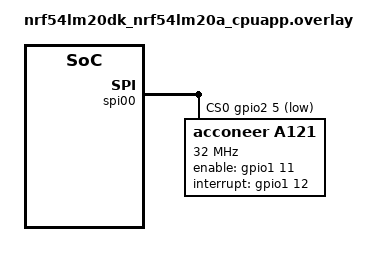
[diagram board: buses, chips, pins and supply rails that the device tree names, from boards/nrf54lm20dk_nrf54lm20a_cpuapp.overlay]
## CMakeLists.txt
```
#
# Copyright (c) 2026 Nordic Semiconductor ASA
#
# SPDX-License-Identifier: LicenseRef-Nordic-5-Clause
#

cmake_minimum_required(VERSION 3.20.0)

find_package(Zephyr REQUIRED HINTS $ENV{ZEPHYR_BASE})
project(radar_senior_care)

target_sources(app PRIVATE
  src/main.c
  src/care_json.c
  src/net_mqtt.c
)

# Phase 0 / SDK-absent build: simulated radar data so the Wi-Fi -> MQTT ->
# dashboard pipeline can be exercised without the sensor or the Acconeer SDK.
if(CONFIG_RADAR_CARE_SENSOR_SYNTHETIC)
  target_sources(app PRIVATE src/sensing_synthetic.c)
endif()

# Sensor build: links the proprietary Acconeer A121 RSS libraries and compiles
# the breathing reference app + our Zephyr HAL port. The SDK is an EXTERNAL,
# separately licensed dependency and is NOT committed to this repository.
if(CONFIG_RADAR_CARE_SENSOR_A121)
  # SDK location resolution order:
  #   1. ACCONEER_A121_SDK_DIR environment variable (recommended: propagates to
  #      every sysbuild image automatically), then
  #   2. an explicit -DACCONEER_A121_SDK_DIR=... cache override, then
  #      (for sysbuild use the image-namespaced form noted in the README), then
  #   3. the default ~/cortex_m33_gcc.
  if(DEFINED ENV{ACCONEER_A121_SDK_DIR})
    set(ACCONEER_A121_SDK_DIR "$ENV{ACCONEER_A121_SDK_DIR}"
        CACHE PATH "Path to the Acconeer A121 Cortex-M33 SDK" FORCE)
  else()
    set(ACCONEER_A121_SDK_DIR "$ENV{HOME}/cortex_m33_gcc"
        CACHE PATH "Path to the Acconeer A121 Cortex-M33 SDK")
  endif()

  if(NOT EXISTS "${ACCONEER_A121_SDK_DIR}/rss/lib/libacconeer_a121.a")
    message(FATAL_ERROR
      "Acconeer A121 SDK not found at '${ACCONEER_A121_SDK_DIR}'.\n"
      "Set it with: export ACCONEER_A121_SDK_DIR=/path/to/cortex_m33_gcc")
  endif()

  target_include_directories(app PRIVATE
    ${ACCONEER_A121_SDK_DIR}/rss/include
    ${ACCONEER_A121_SDK_DIR}/integration
    ${ACCONEER_A121_SDK_DIR}/algorithms
    ${ACCONEER_A121_SDK_DIR}/use_cases/reference_apps
  )

  target_sources(app PRIVATE
    src/sensing_a121.c
    src/acconeer_hal/acc_hal_zephyr.c
    src/acconeer_hal/acc_integration_zephyr.c
    src/acconeer_hal/acc_integration_log_zephyr.c
    ${ACCONEER_A121_SDK_DIR}/algorithms/acc_algorithm.c
    ${ACCONEER_A121_SDK_DIR}/use_cases/reference_apps/ref_app_breathing.c
  )

  # Order matters: detectors depend on the core RSS library.
  target_link_libraries(app PRIVATE
    ${ACCONEER_A121_SDK_DIR}/rss/lib/libacc_detector_presence_a121.a
    ${ACCONEER_A121_SDK_DIR}/rss/lib/libacc_detector_distance_a121.a
    ${ACCONEER_A121_SDK_DIR}/rss/lib/libacconeer_a121.a
  )
endif()

include(${ZEPHYR_BASE}/samples/net/common/common.cmake)
```

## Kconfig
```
#
# Copyright (c) 2026 Nordic Semiconductor ASA
#
# SPDX-License-Identifier: LicenseRef-Nordic-5-Clause
#

source "Kconfig.zephyr"

menu "Senior-care radar monitor"

config RADAR_CARE_SITE_ID
	string "Site identifier"
	default "site1"
	help
	  Logical site/facility identifier used in the MQTT topic tree
	  (care/<site>/<room>/...).

config RADAR_CARE_ROOM_ID
	string "Room identifier"
	default ""
	help
	  Room/device identifier used in the MQTT topic tree and as the MQTT
	  client id. If left empty, an id is derived from the Wi-Fi MAC
	  (for example "room_AEDA").

choice RADAR_CARE_SENSOR_BACKEND
	prompt "Radar sensor backend"
	default RADAR_CARE_SENSOR_SYNTHETIC
	help
	  Selects whether the application drives a real Acconeer A121 sensor or
	  emits simulated data. Synthetic mode lets the full Wi-Fi/MQTT/dashboard
	  pipeline be built and tested without hardware or the Acconeer SDK.

config RADAR_CARE_SENSOR_SYNTHETIC
	bool "Synthetic (simulated) radar data"

config RADAR_CARE_SENSOR_A121
	bool "Acconeer A121 radar (requires external SDK)"
	help
	  Drives a real A121 over SPI using the Acconeer RSS libraries and the
	  Zephyr HAL port. Requires the external SDK (see CMakeLists.txt and
	  DESIGN.md, Appendix A).

endchoice

menu "MQTT broker"

config RADAR_CARE_BROKER_HOSTNAME
	string "MQTT broker hostname or IP address"
	default "192.168.x.x"

config RADAR_CARE_BROKER_PORT
	int "MQTT broker TCP port"
	default 1883
	range 1 65535
	help
	  Plain MQTT is 1883; MQTT over TLS is typically 8883. Set this to 8883
	  when RADAR_CARE_MQTT_TLS is enabled.

config RADAR_CARE_MQTT_TLS
	bool "Connect to the broker over TLS"
	select MQTT_LIB_TLS
	select NET_SOCKETS_SOCKOPT_TLS
	select TLS_CREDENTIALS
	help
	  Use a TLS-secured MQTT connection. Enable this together with the crypto
	  backend settings in overlay-tls.conf (mbed TLS / nRF Security), and put
	  the broker's CA certificate in src/certs/ca_cert.h (see the README).
	  Remember to set RADAR_CARE_BROKER_PORT to the TLS port (usually 8883).

if RADAR_CARE_MQTT_TLS

config RADAR_CARE_MQTT_TLS_SEC_TAG
	int "TLS security tag for the broker CA certificate"
	default 201
	help
	  Arbitrary, application-chosen identifier under which the CA certificate
	  is registered in the TLS credential store.

config RADAR_CARE_MQTT_TLS_HOSTNAME
	string "Expected TLS hostname (SNI / certificate name check)"
	default ""
	help
	  Hostname checked against the broker certificate's CN/SAN and sent as
	  SNI. Leave empty to reuse RADAR_CARE_BROKER_HOSTNAME. Must match a name
	  in the server certificate, otherwise peer verification fails.

config RADAR_CARE_MQTT_TLS_PEER_VERIFY
	int "TLS peer verification level"
	default 2
	range 0 2
	help
	  0 = none, 1 = optional, 2 = required. Use 2 in production.

endif # RADAR_CARE_MQTT_TLS

config RADAR_CARE_MQTT_USERNAME
	string "MQTT username (empty to disable auth)"
	default ""
	help
	  Username sent in the MQTT CONNECT for broker authentication. Leave
	  empty for anonymous brokers.

config RADAR_CARE_MQTT_PASSWORD
	string "MQTT password"
	default ""
	help
	  Password paired with RADAR_CARE_MQTT_USERNAME. Prefer provisioning this
	  out of band rather than committing it to prj.conf.

endmenu

menu "Telemetry"

config RADAR_CARE_PRESENCE_PERIOD_MS
	int "Presence publish period (ms)"
	default 1000
	range 100 60000

config RADAR_CARE_BREATHING_PERIOD_MS
	int "Breathing publish period (ms)"
	default 2000
	range 200 60000

config RADAR_CARE_STATUS_PERIOD_S
	int "Status/heartbeat publish period (s)"
	default 15
	range 1 3600

config RADAR_CARE_WAVEFORM_STREAM
	bool "Stream a downsampled breathing waveform"
	default y

endmenu

menu "Fall detection"

config RADAR_CARE_FALL_ENABLE
	bool "Enable fall detection"
	default y

config RADAR_CARE_FALL_SETTLE_MS
	int "Post-impact stillness window before confirming a fall (ms)"
	depends on RADAR_CARE_FALL_ENABLE
	default 4000
	range 500 30000

endmenu

endmenu
```

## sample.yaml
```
sample:
  description: Acconeer A121 senior-care radar monitor (presence, breathing,
    fall detection) streaming over Wi-Fi/MQTT to a dashboard
  name: radar-senior-care
tests:
  sample.wifi.radar_senior_care:
    sysbuild: true
    build_only: true
    extra_args:
      - radar_senior_care_SHIELD=nrf7002eb2
    integration_platforms:
      - nrf54lm20dk/nrf54lm20a/cpuapp
    platform_allow: nrf54lm20dk/nrf54lm20a/cpuapp
    tags:
      - ci_build
      - sysbuild
      - ci_samples_wifi
```

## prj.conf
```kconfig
#
# Copyright (c) 2026 Nordic Semiconductor ASA
#
# SPDX-License-Identifier: LicenseRef-Nordic-5-Clause
#

CONFIG_LOG=y
CONFIG_ASSERT=y
CONFIG_HW_ID_LIBRARY=y
CONFIG_HW_ID_LIBRARY_SOURCE_NET_MAC=y

# Networking
CONFIG_NETWORKING=y
CONFIG_NET_NATIVE=y
CONFIG_NET_IPV4=y
CONFIG_NET_IPV6=y
CONFIG_NET_IPV6_ND=y
CONFIG_NET_SOCKETS=y
CONFIG_NET_TCP=y
CONFIG_NET_UDP=y
CONFIG_NET_DHCPV4=y
CONFIG_POSIX_API=y
CONFIG_DNS_RESOLVER=y

# MQTT
CONFIG_MQTT_LIB=y

# Sample broker (override in your own conf / EXTRA_CONF_FILE)
CONFIG_RADAR_CARE_BROKER_HOSTNAME="192.168.x.x"
CONFIG_RADAR_CARE_BROKER_PORT=1883

CONFIG_ENTROPY_GENERATOR=y

# Wi-Fi (nRF70 companion via nrf7002eb2 shield)
CONFIG_WIFI=y
CONFIG_WIFI_NRF70=y
CONFIG_WIFI_NRF70_LOG_LEVEL_ERR=y
CONFIG_WIFI_READY_LIB=y
CONFIG_NRF_WIFI_RPU_RECOVERY=y
CONFIG_WIFI_NM_WPA_SUPPLICANT=y
CONFIG_WIFI_NM_WPA_SUPPLICANT_LOG_LEVEL_ERR=y

CONFIG_WIFI_CREDENTIALS=y
CONFIG_WIFI_CREDENTIALS_STATIC=y
CONFIG_WIFI_CREDENTIALS_STATIC_SSID="<your_ssid>"
CONFIG_WIFI_CREDENTIALS_STATIC_PASSWORD="<your_password>"

# Connection Manager
CONFIG_NET_CONNECTION_MANAGER=y
CONFIG_L2_WIFI_CONNECTIVITY=y
CONFIG_L2_WIFI_CONNECTIVITY_AUTO_CONNECT=n
CONFIG_L2_WIFI_CONNECTIVITY_AUTO_DOWN=n
CONFIG_NET_L2_ETHERNET=y
CONFIG_NET_L2_ETHERNET_MGMT=y

# Shell (diagnostics, calibration, threshold tuning)
CONFIG_SHELL=y
CONFIG_SHELL_STACK_SIZE=6144
CONFIG_NET_SHELL=y
CONFIG_NET_L2_WIFI_SHELL=y

# Stacks / heap
CONFIG_MAIN_STACK_SIZE=8192
CONFIG_SYSTEM_WORKQUEUE_STACK_SIZE=4096
CONFIG_HEAP_MEM_POOL_SIZE=40144
CONFIG_HEAP_MEM_POOL_IGNORE_MIN=y
CONFIG_NRF_WIFI_CTRL_HEAP_SIZE=20000
CONFIG_NRF_WIFI_DATA_HEAP_SIZE=54856
CONFIG_HW_STACK_PROTECTION=y

# Buffers
CONFIG_NRF70_RX_NUM_BUFS=16
CONFIG_NRF70_MAX_TX_AGGREGATION=4
CONFIG_NET_PKT_RX_COUNT=16
CONFIG_NET_PKT_TX_COUNT=16
CONFIG_NET_BUF_RX_COUNT=16
CONFIG_NET_BUF_TX_COUNT=32

CONFIG_NET_MGMT_EVENT_QUEUE_TIMEOUT=5000

# Float (breathing/presence detectors are float; needed for JSON formatting too)
CONFIG_FPU=y
CONFIG_CBPRINTF_FP_SUPPORT=y

CONFIG_LTO=y
CONFIG_ISR_TABLES_LOCAL_DECLARATION=y
```

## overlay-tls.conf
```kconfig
#
# Copyright (c) 2026 Nordic Semiconductor ASA
#
# SPDX-License-Identifier: LicenseRef-Nordic-5-Clause
#
# MQTT-over-TLS (+ optional broker auth) overlay for nRF54L + nRF70.
#
# Usage:
#   1. Put your broker CA certificate (PEM) in src/certs/ca_cert.h
#      (server/broker/gen_certs.sh generates one for the bundled demo broker).
#   2. Build:
#        west build -p -b nrf54lm20dk/nrf54lm20a/cpuapp --sysbuild \
#          samples/wifi/radar_senior_care -- \
#          -Dradar_senior_care_SHIELD="nrf7002eb2" \
#          -DEXTRA_CONF_FILE="overlay-tls.conf"
#
# The crypto settings mirror samples/net/mqtt/tls-nrf54l-nrf70.conf.

# --- Application TLS/auth options ---
CONFIG_RADAR_CARE_MQTT_TLS=y
CONFIG_RADAR_CARE_BROKER_PORT=8883
CONFIG_RADAR_CARE_MQTT_TLS_PEER_VERIFY=2
# Must match a CN/SAN in the broker certificate:
CONFIG_RADAR_CARE_MQTT_TLS_HOSTNAME="care-broker"
# Optional broker auth (must match the broker password file):
CONFIG_RADAR_CARE_MQTT_USERNAME="room-device"
CONFIG_RADAR_CARE_MQTT_PASSWORD="change-me"

# --- TLS credential store (CA registered at runtime from src/certs/ca_cert.h) ---
CONFIG_TLS_CREDENTIALS_BACKEND_VOLATILE=y
CONFIG_NET_SOCKETS_TLS_MAX_CONTEXTS=1

# --- nRF Security / mbed TLS ---
CONFIG_PSA_CRYPTO=y
CONFIG_MBEDTLS=y
CONFIG_MBEDTLS_ENABLE_HEAP=y
CONFIG_MBEDTLS_HEAP_SIZE=48000
CONFIG_MBEDTLS_SSL_KEEP_PEER_CERTIFICATE=n
CONFIG_MBEDTLS_SSL_SERVER_NAME_INDICATION=y
CONFIG_MBEDTLS_DECLARE_PRIVATE_IDENTIFIERS=y
CONFIG_MBEDTLS_MD_C=y
CONFIG_MBEDTLS_HMAC_DRBG_C=y
CONFIG_MBEDTLS_SHA256_C=y
CONFIG_MBEDTLS_ECP_C=y
CONFIG_MBEDTLS_CTR_DRBG_C=y
CONFIG_MBEDTLS_AES_C=y
CONFIG_MBEDTLS_ENTROPY_C=y
CONFIG_MBEDTLS_RSA_C=y
# MPI size limit to handle ~4 kB RSA certificates.
CONFIG_MBEDTLS_MPI_MAX_SIZE=512
CONFIG_PSA_WANT_KEY_TYPE_RSA_KEY_PAIR_IMPORT=y
CONFIG_PSA_WANT_KEY_TYPE_RSA_KEY_PAIR_EXPORT=y
CONFIG_PSA_WANT_KEY_TYPE_RSA_KEY_PAIR_GENERATE=y
# ECDHE key exchange used during the TLS handshake.
CONFIG_PSA_WANT_ALG_ECDH=y
CONFIG_PSA_WANT_ALG_ECDSA=y
CONFIG_PSA_WANT_ECC_SECP_R1_256=y
CONFIG_PSA_WANT_ECC_SECP_R1_384=y
```

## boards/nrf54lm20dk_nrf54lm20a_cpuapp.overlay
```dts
/*
 * Copyright (c) 2026 Nordic Semiconductor ASA
 *
 * SPDX-License-Identifier: LicenseRef-Nordic-5-Clause
 *
 * Acconeer A121 wiring for the nRF54LM20 DK.
 *
 * The nRF7002 EB-II Wi-Fi shield already consumes nordic_expansion_spi (spi22)
 * and the expansion header, so the A121 is placed on the high-speed spi00
 * instance (its on-board flash is disabled by default, freeing the bus).
 *
 * NOTE: these are DEFAULT pin assignments (decision D2). Verify SCLK/MOSI/MISO
 * (via spi00 pinctrl), CS, ENABLE and INTERRUPT against the actual DK header
 * pinout and the A121 EVK adapter before bring-up. The pinctrl groups
 * spi00_default/spi00_sleep come from the board definition.
 */

&spi00 {
	status = "okay";
	/* A121 chip-select (reuses the spi00 CS pin from the board definition). */
	cs-gpios = <&gpio2 5 GPIO_ACTIVE_LOW>;

	a121: a121@0 {
		compatible = "acconeer,a121";
		reg = <0>;
		/* A121 supports up to ~50 MHz; start conservatively. */
		spi-max-frequency = <32000000>;

		enable-gpios = <&gpio1 11 GPIO_ACTIVE_HIGH>;
		interrupt-gpios = <&gpio1 12 (GPIO_ACTIVE_HIGH | GPIO_PULL_DOWN)>;
	};
};
```

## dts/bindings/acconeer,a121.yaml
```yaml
# Copyright (c) 2026 Nordic Semiconductor ASA
# SPDX-License-Identifier: LicenseRef-Nordic-5-Clause

description: |
  Acconeer A121 60 GHz pulsed-coherent radar sensor.

  The sensor is driven by the Acconeer RSS library through the application's
  Zephyr HAL port, which obtains the SPI bus and the ENABLE / INTERRUPT GPIOs
  from this node. There is no in-tree Zephyr driver; this binding only describes
  the connection so the HAL can use the devicetree macros.

compatible: "acconeer,a121"

include: spi-device.yaml

properties:
  enable-gpios:
    type: phandle-array
    required: true
    description: |
      Sensor ENABLE line (active high). Driven high to power up the sensor,
      low to disable it.

  interrupt-gpios:
    type: phandle-array
    required: true
    description: |
      Sensor INTERRUPT/READY line (active high). The HAL waits on a rising
      edge of this signal to know a measurement is ready.
```

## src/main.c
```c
/*
 * Copyright (c) 2026 Nordic Semiconductor ASA
 *
 * SPDX-License-Identifier: LicenseRef-Nordic-5-Clause
 *
 * Senior-care radar monitor: brings up Wi-Fi, starts the sensing backend
 * (synthetic or A121), and streams presence/breathing/fall telemetry to the
 * care dashboard over MQTT.
 */

#include <string.h>

#include <zephyr/kernel.h>
#include <zephyr/logging/log.h>
#include <zephyr/net/conn_mgr_connectivity.h>
#include <zephyr/net/conn_mgr_monitor.h>
#include <zephyr/net/net_event.h>
#include <zephyr/net/net_mgmt.h>

#include <hw_id.h>

#include "net_sample_common.h"

#include "care.h"
#include "net_mqtt.h"
#include "sensing.h"

LOG_MODULE_REGISTER(radar_care, CONFIG_LOG_DEFAULT_LEVEL);

#define L4_FAMILY_EVENT_MASK                                                    \
	(NET_EVENT_L4_IPV4_CONNECTED | NET_EVENT_L4_IPV4_DISCONNECTED |         \
	 NET_EVENT_L4_IPV6_CONNECTED | NET_EVENT_L4_IPV6_DISCONNECTED)

static struct net_mgmt_event_callback l4_family_cb;
static atomic_t ipv4_connected;
static atomic_t ipv6_connected;
static K_SEM_DEFINE(l4_family_changed, 0, 1);

static char room_id[24];

static void l4_family_event_handler(struct net_mgmt_event_callback *cb, uint64_t event,
				    struct net_if *iface)
{
	ARG_UNUSED(cb);
	ARG_UNUSED(iface);

	switch (event) {
	case NET_EVENT_L4_IPV4_CONNECTED:
		atomic_set(&ipv4_connected, 1);
		break;
	case NET_EVENT_L4_IPV4_DISCONNECTED:
		atomic_set(&ipv4_connected, 0);
		break;
	case NET_EVENT_L4_IPV6_CONNECTED:
		atomic_set(&ipv6_connected, 1);
		break;
	case NET_EVENT_L4_IPV6_DISCONNECTED:
		atomic_set(&ipv6_connected, 0);
		break;
	default:
		return;
	}

	k_sem_give(&l4_family_changed);
}

/* Avoid the dual-stack race where L4_CONNECTED fires on IPv6 before IPv4 DHCP
 * binds (see samples/wifi/arp_mqtt). Default broker is IPv4 here.
 */
static void wait_for_ipv4(void)
{
	int64_t deadline = k_uptime_get() + 30000;

	while (atomic_get(&ipv4_connected) == 0) {
		if (k_uptime_get() >= deadline) {
			LOG_WRN("No IPv4 connectivity yet; proceeding anyway");
			return;
		}
		(void)k_sem_take(&l4_family_changed, K_MSEC(500));
	}
}

static void derive_room_id(void)
{
	if (strlen(CONFIG_RADAR_CARE_ROOM_ID) > 0) {
		(void)strncpy(room_id, CONFIG_RADAR_CARE_ROOM_ID, sizeof(room_id) - 1);
		room_id[sizeof(room_id) - 1] = '\0';
		return;
	}

	char hw[HW_ID_LEN];

	if (hw_id_get(hw, sizeof(hw)) == 0 && strlen(hw) >= 12) {
		(void)snprintk(room_id, sizeof(room_id), "room_%s", &hw[8]);
	} else {
		(void)strncpy(room_id, "room_0000", sizeof(room_id));
	}
}

/* Maps a sensing event onto the MQTT topic tree. Runs in sensing context. */
static void on_care_event(const struct care_event *evt)
{
	char payload[256];

	if (care_event_to_json(evt, payload, sizeof(payload)) < 0) {
		LOG_WRN("event serialization failed (type %d)", evt->type);
		return;
	}

	switch (evt->type) {
	case CARE_EVT_PRESENCE:
		(void)care_mqtt_publish("presence", payload, false, 0);
		break;
	case CARE_EVT_BREATHING:
		(void)care_mqtt_publish("breathing", payload, false, 0);
		break;
	case CARE_EVT_WAVEFORM:
		(void)care_mqtt_publish("breathing/wave", payload, false, 0);
		break;
	case CARE_EVT_FALL:
		/* Reliable delivery for alerts. */
		(void)care_mqtt_publish("fall", payload, false, 1);
		break;
	default:
		break;
	}
}

/* Handles commands from the dashboard on care/<site>/<room>/cmd. Runs in the
 * MQTT processing context. Currently supports {"ack_fall": true}.
 */
static void on_command(const char *payload, size_t len)
{
	ARG_UNUSED(len);

	if (strstr(payload, "ack_fall") != NULL && strstr(payload, "true") != NULL) {
		LOG_INF("Fall acknowledged by dashboard");
		sensing_ack_fall();
	}
}

int main(void)
{
	int err;
	int64_t last_status = 0;

	LOG_INF("Senior-care radar monitor starting");

	derive_room_id();
	LOG_INF("Room id: %s", room_id);
	care_mqtt_init(room_id);
	care_mqtt_set_cmd_handler(on_command);

	net_mgmt_init_event_callback(&l4_family_cb, l4_family_event_handler,
				     L4_FAMILY_EVENT_MASK);
	net_mgmt_add_event_callback(&l4_family_cb);

	err = conn_mgr_all_if_up(true);
	if (err) {
		LOG_ERR("conn_mgr_all_if_up: %d", err);
		return err;
	}

	err = conn_mgr_all_if_connect(true);
	if (err) {
		LOG_ERR("conn_mgr_all_if_connect: %d", err);
		return err;
	}

	wait_for_network();
	wait_for_ipv4();

	err = sensing_start(on_care_event);
	if (err) {
		LOG_ERR("sensing_start: %d", err);
		return err;
	}

	for (;;) {
		if (care_mqtt_connect() != 0) {
			LOG_WRN("Broker connect failed; retry in 5 s");
			k_sleep(K_SECONDS(5));
			continue;
		}

		last_status = k_uptime_get();

		while (care_mqtt_is_connected()) {
			if (care_mqtt_process(1000) < 0) {
				break;
			}

			int64_t now = k_uptime_get();

			if (now - last_status >=
			    CONFIG_RADAR_CARE_STATUS_PERIOD_S * 1000) {
				(void)care_mqtt_publish("status",
							"{\"online\":true}", true, 1);
				last_status = now;
			}
		}

		care_mqtt_disconnect();
		k_sleep(K_SECONDS(3));
	}
}
```

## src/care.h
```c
/*
 * Copyright (c) 2026 Nordic Semiconductor ASA
 *
 * SPDX-License-Identifier: LicenseRef-Nordic-5-Clause
 */

#ifndef RADAR_CARE_CARE_H_
#define RADAR_CARE_CARE_H_

#include <stdbool.h>
#include <stddef.h>
#include <stdint.h>

/** Maximum number of breathing-waveform samples carried in one event. */
#define CARE_WAVE_MAX_SAMPLES 16

/** Fall detection state. */
enum care_fall_state {
	CARE_FALL_NONE = 0,
	CARE_FALL_SUSPECTED,
	CARE_FALL_CONFIRMED,
};

/** Type discriminator for a care event produced by the sensing backend. */
enum care_event_type {
	CARE_EVT_PRESENCE = 0,
	CARE_EVT_BREATHING,
	CARE_EVT_WAVEFORM,
	CARE_EVT_FALL,
};

struct care_presence {
	bool present;
	float score;
	float distance_m;
};

struct care_breathing {
	bool valid;
	float rate_bpm;
	float confidence;
};

struct care_waveform {
	uint8_t count;
	uint16_t fs_hz;
	float samples[CARE_WAVE_MAX_SAMPLES];
};

struct care_fall {
	enum care_fall_state state;
	float confidence;
	float distance_m;
};

/** A single event emitted by the sensing backend toward telemetry. */
struct care_event {
	enum care_event_type type;
	uint32_t uptime_ms;
	union {
		struct care_presence presence;
		struct care_breathing breathing;
		struct care_waveform waveform;
		struct care_fall fall;
	};
};

/**
 * @brief Serialize a care event into a JSON payload.
 *
 * @return Number of bytes written (excluding NUL), or negative on error.
 */
int care_event_to_json(const struct care_event *evt, char *buf, size_t buf_size);

#endif /* RADAR_CARE_CARE_H_ */
```

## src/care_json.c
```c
/*
 * Copyright (c) 2026 Nordic Semiconductor ASA
 *
 * SPDX-License-Identifier: LicenseRef-Nordic-5-Clause
 *
 * Minimal hand-rolled JSON serialization for care events. Kept dependency-free
 * and bounded; payloads are small and flat.
 */

#include <stdio.h>

#include "care.h"

static const char *fall_state_str(enum care_fall_state s)
{
	switch (s) {
	case CARE_FALL_SUSPECTED:
		return "suspected";
	case CARE_FALL_CONFIRMED:
		return "confirmed";
	case CARE_FALL_NONE:
	default:
		return "none";
	}
}

static int waveform_to_json(const struct care_event *evt, char *buf, size_t buf_size)
{
	const struct care_waveform *w = &evt->waveform;
	int off;

	off = snprintf(buf, buf_size, "{\"ts_ms\":%u,\"fs\":%u,\"samples\":[",
		       evt->uptime_ms, w->fs_hz);
	if (off < 0 || (size_t)off >= buf_size) {
		return -1;
	}

	for (uint8_t i = 0; i < w->count; i++) {
		int n = snprintf(&buf[off], buf_size - off, "%s%.3f",
				 (i == 0) ? "" : ",", (double)w->samples[i]);
		if (n < 0 || (size_t)(off + n) >= buf_size) {
			return -1;
		}
		off += n;
	}

	int n = snprintf(&buf[off], buf_size - off, "]}");
	if (n < 0 || (size_t)(off + n) >= buf_size) {
		return -1;
	}

	return off + n;
}

int care_event_to_json(const struct care_event *evt, char *buf, size_t buf_size)
{
	int n;

	switch (evt->type) {
	case CARE_EVT_PRESENCE:
		n = snprintf(buf, buf_size,
			     "{\"ts_ms\":%u,\"present\":%s,\"score\":%.2f,"
			     "\"distance_m\":%.2f}",
			     evt->uptime_ms,
			     evt->presence.present ? "true" : "false",
			     (double)evt->presence.score,
			     (double)evt->presence.distance_m);
		break;
	case CARE_EVT_BREATHING:
		n = snprintf(buf, buf_size,
			     "{\"ts_ms\":%u,\"valid\":%s,\"rate_bpm\":%.1f,"
			     "\"confidence\":%.2f}",
			     evt->uptime_ms,
			     evt->breathing.valid ? "true" : "false",
			     (double)evt->breathing.rate_bpm,
			     (double)evt->breathing.confidence);
		break;
	case CARE_EVT_WAVEFORM:
		return waveform_to_json(evt, buf, buf_size);
	case CARE_EVT_FALL:
		n = snprintf(buf, buf_size,
			     "{\"ts_ms\":%u,\"state\":\"%s\",\"confidence\":%.2f,"
			     "\"distance_m\":%.2f}",
			     evt->uptime_ms,
			     fall_state_str(evt->fall.state),
			     (double)evt->fall.confidence,
			     (double)evt->fall.distance_m);
		break;
	default:
		return -1;
	}

	if (n < 0 || (size_t)n >= buf_size) {
		return -1;
	}

	return n;
}
```

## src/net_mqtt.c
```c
/*
 * Copyright (c) 2026 Nordic Semiconductor ASA
 *
 * SPDX-License-Identifier: LicenseRef-Nordic-5-Clause
 *
 * MQTT telemetry for the senior-care radar sample. Publish-oriented, with a
 * retained "status" topic + Last-Will-and-Testament so the dashboard can show
 * each room online/offline, and a subscription to a per-room command topic.
 *
 * Connection handling mirrors samples/wifi/arp_mqtt (plain TCP, IPv4/IPv6).
 */

#include <errno.h>
#include <string.h>

#include <zephyr/kernel.h>
#include <zephyr/logging/log.h>
#include <zephyr/net/mqtt.h>
#include <zephyr/net/socket.h>
#include <zephyr/random/random.h>
#include <zephyr/posix/arpa/inet.h>
#include <zephyr/posix/netdb.h>
#include <zephyr/posix/poll.h>

#if defined(CONFIG_RADAR_CARE_MQTT_TLS)
#include <zephyr/net/tls_credentials.h>
#include "certs/ca_cert.h"
#endif

#include "net_mqtt.h"

LOG_MODULE_REGISTER(care_mqtt, CONFIG_LOG_DEFAULT_LEVEL);

#define MQTT_BUF_SIZE 512
#define TOPIC_MAX     96

static uint8_t rx_buffer[MQTT_BUF_SIZE];
static uint8_t tx_buffer[MQTT_BUF_SIZE];

static struct mqtt_client client_ctx;
static struct sockaddr_storage broker;
static struct pollfd fds[1];
static int nfds;
static volatile bool connected;

static char room_id[24];
static char base_topic[TOPIC_MAX];   /* care/<site>/<room> */
static char status_topic[TOPIC_MAX]; /* base/status (LWT + retained) */
static char cmd_topic[TOPIC_MAX];    /* base/cmd (subscribe) */

static struct mqtt_utf8 will_message;
static struct mqtt_topic will_topic;

static care_cmd_handler_t cmd_handler;

static K_MUTEX_DEFINE(mqtt_lock);

static const char *const WILL_PAYLOAD = "{\"online\":false}";

#if defined(CONFIG_RADAR_CARE_MQTT_TLS)
static const sec_tag_t sec_tag_list[] = {
	CONFIG_RADAR_CARE_MQTT_TLS_SEC_TAG,
};

static int tls_credentials_setup(void)
{
	int err = tls_credential_add(CONFIG_RADAR_CARE_MQTT_TLS_SEC_TAG,
				     TLS_CREDENTIAL_CA_CERTIFICATE, ca_certificate,
				     sizeof(ca_certificate));
	if (err == -EEXIST) {
		return 0;
	}
	if (err < 0) {
		LOG_ERR("Failed to register broker CA cert: %d", err);
	}

	return err;
}
#endif /* CONFIG_RADAR_CARE_MQTT_TLS */

static int build_topics(void)
{
	int n;

	n = snprintk(base_topic, sizeof(base_topic), "care/%s/%s",
		     CONFIG_RADAR_CARE_SITE_ID, room_id);
	if (n < 0 || n >= (int)sizeof(base_topic)) {
		return -ENAMETOOLONG;
	}

	n = snprintk(status_topic, sizeof(status_topic), "%s/status", base_topic);
	if (n < 0 || n >= (int)sizeof(status_topic)) {
		return -ENAMETOOLONG;
	}

	n = snprintk(cmd_topic, sizeof(cmd_topic), "%s/cmd", base_topic);
	if (n < 0 || n >= (int)sizeof(cmd_topic)) {
		return -ENAMETOOLONG;
	}

	return 0;
}

static int broker_addr_setup(void)
{
	struct zsock_addrinfo hints = {
		.ai_socktype = SOCK_STREAM,
		.ai_protocol = IPPROTO_TCP,
	};
	struct zsock_addrinfo *res;
	char portstr[8];
	int err;

	(void)memset(&broker, 0, sizeof(broker));

	if (IS_ENABLED(CONFIG_NET_IPV4)) {
		struct sockaddr_in *b4 = (struct sockaddr_in *)&broker;

		b4->sin_family = AF_INET;
		b4->sin_port = htons(CONFIG_RADAR_CARE_BROKER_PORT);
		if (inet_pton(AF_INET, CONFIG_RADAR_CARE_BROKER_HOSTNAME,
			      &b4->sin_addr) == 1) {
			return 0;
		}
	}

	if (IS_ENABLED(CONFIG_NET_IPV6)) {
		struct sockaddr_in6 *b6 = (struct sockaddr_in6 *)&broker;

		b6->sin6_family = AF_INET6;
		b6->sin6_port = htons(CONFIG_RADAR_CARE_BROKER_PORT);
		if (inet_pton(AF_INET6, CONFIG_RADAR_CARE_BROKER_HOSTNAME,
			      &b6->sin6_addr) == 1) {
			return 0;
		}
	}

	(void)snprintk(portstr, sizeof(portstr), "%d", CONFIG_RADAR_CARE_BROKER_PORT);

	err = getaddrinfo(CONFIG_RADAR_CARE_BROKER_HOSTNAME, portstr, &hints, &res);
	if (err != 0 || res == NULL) {
		LOG_ERR("getaddrinfo(%s): %d", CONFIG_RADAR_CARE_BROKER_HOSTNAME, err);
		return -EINVAL;
	}

	(void)memcpy(&broker, res->ai_addr, res->ai_addrlen);
	freeaddrinfo(res);

	return 0;
}

static void handle_incoming_publish(struct mqtt_client *client,
				    const struct mqtt_publish_param *pub)
{
	char payload[256];
	size_t payload_len = pub->message.payload.len;
	size_t received = 0;

	if (payload_len >= sizeof(payload)) {
		LOG_WRN("command payload too large (%zu bytes), dropping", payload_len);
		payload_len = sizeof(payload) - 1;
	}

	while (received < payload_len) {
		int ret = mqtt_read_publish_payload_blocking(client, &payload[received],
							     payload_len - received);
		if (ret < 0) {
			LOG_WRN("read command payload failed: %d", ret);
			return;
		}
		received += ret;
	}
	payload[received] = '\0';

	if (pub->message.topic.qos == MQTT_QOS_1_AT_LEAST_ONCE) {
		struct mqtt_puback_param puback = { .message_id = pub->message_id };

		(void)mqtt_publish_qos1_ack(client, &puback);
	}

	LOG_INF("MQTT command: %s", payload);

	if (cmd_handler != NULL) {
		cmd_handler(payload, received);
	}
}

static void mqtt_evt_handler(struct mqtt_client *const client, const struct mqtt_evt *evt)
{
	switch (evt->type) {
	case MQTT_EVT_CONNACK:
		connected = (evt->result == 0);
		LOG_INF("MQTT %s (%d)", connected ? "connected" : "connect failed",
			evt->result);
		break;
	case MQTT_EVT_DISCONNECT:
		LOG_INF("MQTT disconnected (%d)", evt->result);
		connected = false;
		nfds = 0;
		break;
	case MQTT_EVT_PUBLISH:
		handle_incoming_publish(client, &evt->param.publish);
		break;
	default:
		break;
	}
}

static struct mqtt_utf8 mqtt_user;
static struct mqtt_utf8 mqtt_pass;

static void auth_init(struct mqtt_client *client)
{
	client->password = NULL;
	client->user_name = NULL;

	if (strlen(CONFIG_RADAR_CARE_MQTT_USERNAME) > 0) {
		mqtt_user.utf8 = (uint8_t *)CONFIG_RADAR_CARE_MQTT_USERNAME;
		mqtt_user.size = strlen(CONFIG_RADAR_CARE_MQTT_USERNAME);
		client->user_name = &mqtt_user;

		mqtt_pass.utf8 = (uint8_t *)CONFIG_RADAR_CARE_MQTT_PASSWORD;
		mqtt_pass.size = strlen(CONFIG_RADAR_CARE_MQTT_PASSWORD);
		client->password = &mqtt_pass;

		if (!IS_ENABLED(CONFIG_RADAR_CARE_MQTT_TLS)) {
			LOG_WRN("MQTT auth without TLS: credentials sent in cleartext");
		}
	}
}

static void transport_init(struct mqtt_client *client)
{
#if defined(CONFIG_RADAR_CARE_MQTT_TLS)
	struct mqtt_sec_config *tls = &client->transport.tls.config;
	const char *sni = strlen(CONFIG_RADAR_CARE_MQTT_TLS_HOSTNAME) > 0
				  ? CONFIG_RADAR_CARE_MQTT_TLS_HOSTNAME
				  : CONFIG_RADAR_CARE_BROKER_HOSTNAME;

	client->transport.type = MQTT_TRANSPORT_SECURE;
	tls->peer_verify = CONFIG_RADAR_CARE_MQTT_TLS_PEER_VERIFY;
	tls->cipher_list = NULL;
	tls->sec_tag_list = sec_tag_list;
	tls->sec_tag_count = ARRAY_SIZE(sec_tag_list);
	tls->hostname = sni;
#else
	client->transport.type = MQTT_TRANSPORT_NON_SECURE;
#endif
}

static int transport_socket(const struct mqtt_client *client)
{
#if defined(CONFIG_RADAR_CARE_MQTT_TLS)
	return client->transport.tls.sock;
#else
	return client->transport.tcp.sock;
#endif
}

static void client_init(struct mqtt_client *client)
{
	mqtt_client_init(client);

	client->broker = &broker;
	client->evt_cb = mqtt_evt_handler;
	client->client_id.utf8 = (uint8_t *)room_id;
	client->client_id.size = strlen(room_id);
	client->protocol_version = MQTT_VERSION_3_1_1;

	client->rx_buf = rx_buffer;
	client->rx_buf_size = sizeof(rx_buffer);
	client->tx_buf = tx_buffer;
	client->tx_buf_size = sizeof(tx_buffer);

	auth_init(client);
	transport_init(client);

	/* Last-Will-and-Testament: retained "offline" on the status topic. */
	will_topic.topic.utf8 = (uint8_t *)status_topic;
	will_topic.topic.size = strlen(status_topic);
	will_topic.qos = MQTT_QOS_1_AT_LEAST_ONCE;
	will_message.utf8 = (uint8_t *)WILL_PAYLOAD;
	will_message.size = strlen(WILL_PAYLOAD);
	client->will_topic = &will_topic;
	client->will_message = &will_message;
	client->will_retain = 1U;
}

static int wait_on_socket(int timeout_ms)
{
	if (nfds <= 0) {
		return 0;
	}

	int ret = poll(fds, nfds, timeout_ms);

	if (ret < 0) {
		LOG_ERR("poll: %d", errno);
		return -errno;
	}

	return ret;
}

void care_mqtt_init(const char *id)
{
	(void)strncpy(room_id, id, sizeof(room_id) - 1);
	room_id[sizeof(room_id) - 1] = '\0';
	(void)build_topics();

#if defined(CONFIG_RADAR_CARE_MQTT_TLS)
	(void)tls_credentials_setup();
#endif
}

void care_mqtt_set_cmd_handler(care_cmd_handler_t handler)
{
	cmd_handler = handler;
}

int care_mqtt_publish(const char *subtopic, const char *payload, bool retain, int qos)
{
	char topic[TOPIC_MAX];
	int ret;

	if (!connected) {
		return -ENOTCONN;
	}

	ret = snprintk(topic, sizeof(topic), "%s/%s", base_topic, subtopic);
	if (ret < 0 || ret >= (int)sizeof(topic)) {
		return -ENAMETOOLONG;
	}

	struct mqtt_publish_param param = {
		.message.topic.topic.utf8 = (uint8_t *)topic,
		.message.topic.topic.size = strlen(topic),
		.message.topic.qos = qos,
		.message.payload.data = (uint8_t *)payload,
		.message.payload.len = strlen(payload),
		.message_id = sys_rand16_get(),
		.retain_flag = retain ? 1U : 0U,
	};

	k_mutex_lock(&mqtt_lock, K_FOREVER);
	ret = mqtt_publish(&client_ctx, &param);
	if (ret == 0) {
		(void)mqtt_live(&client_ctx);
	}
	k_mutex_unlock(&mqtt_lock);

	return ret;
}

static int subscribe_cmd(void)
{
	struct mqtt_topic topic = {
		.topic = { .utf8 = (uint8_t *)cmd_topic, .size = strlen(cmd_topic) },
		.qos = MQTT_QOS_1_AT_LEAST_ONCE,
	};
	const struct mqtt_subscription_list sub = {
		.list = &topic,
		.list_count = 1,
		.message_id = 1U,
	};

	return mqtt_subscribe(&client_ctx, &sub);
}

int care_mqtt_process(int timeout_ms)
{
	int rc;

	k_mutex_lock(&mqtt_lock, K_FOREVER);
	if (wait_on_socket(timeout_ms) > 0) {
		rc = mqtt_input(&client_ctx);
		if (rc < 0) {
			goto out;
		}
	}
	rc = mqtt_live(&client_ctx);
	if (rc == -EAGAIN) {
		rc = 0;
	}
out:
	k_mutex_unlock(&mqtt_lock);
	return rc;
}

int care_mqtt_connect(void)
{
	int ret;

	connected = false;

	ret = broker_addr_setup();
	if (ret != 0) {
		return ret;
	}

	client_init(&client_ctx);

	ret = mqtt_connect(&client_ctx);
	if (ret != 0) {
		LOG_WRN("mqtt_connect: %d", ret);
		return ret;
	}

	fds[0].fd = transport_socket(&client_ctx);
	fds[0].events = POLLIN;
	nfds = 1;

	/* Pump until CONNACK (or failure). */
	for (int i = 0; i < 40 && !connected; i++) {
		ret = care_mqtt_process(200);
		if (ret < 0) {
			(void)mqtt_abort(&client_ctx);
			nfds = 0;
			return ret;
		}
	}

	if (!connected) {
		(void)mqtt_abort(&client_ctx);
		nfds = 0;
		return -ETIMEDOUT;
	}

	(void)subscribe_cmd();
	(void)care_mqtt_publish("status", "{\"online\":true}", true,
				MQTT_QOS_1_AT_LEAST_ONCE);

	LOG_INF("Telemetry up: %s (broker %s:%d)", base_topic,
		CONFIG_RADAR_CARE_BROKER_HOSTNAME, CONFIG_RADAR_CARE_BROKER_PORT);

	return 0;
}

bool care_mqtt_is_connected(void)
{
	return connected;
}

void care_mqtt_disconnect(void)
{
	(void)mqtt_disconnect(&client_ctx, NULL);
	nfds = 0;
	connected = false;
}
```

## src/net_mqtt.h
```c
/*
 * Copyright (c) 2026 Nordic Semiconductor ASA
 *
 * SPDX-License-Identifier: LicenseRef-Nordic-5-Clause
 */

#ifndef RADAR_CARE_NET_MQTT_H_
#define RADAR_CARE_NET_MQTT_H_

#include <stdbool.h>
#include <stddef.h>

/**
 * @brief Handler for commands received on care/<site>/<room>/cmd.
 *
 * Invoked from the MQTT processing context (see @ref care_mqtt_process). The
 * payload is NUL-terminated; @p len excludes the terminator. Keep it short.
 */
typedef void (*care_cmd_handler_t)(const char *payload, size_t len);

/**
 * @brief Initialise the MQTT telemetry module.
 *
 * @param room_id Stable room/device identifier used in the topic tree and as
 *                the MQTT client id.
 */
void care_mqtt_init(const char *room_id);

/**
 * @brief Register a handler for inbound commands on the cmd topic.
 *
 * Must be called before @ref care_mqtt_connect. Pass NULL to clear.
 */
void care_mqtt_set_cmd_handler(care_cmd_handler_t handler);

/**
 * @brief Connect to the broker, set up LWT, publish retained online status and
 *        subscribe to the command topic. Blocks until connected or failed.
 *
 * @return 0 on success, negative errno otherwise.
 */
int care_mqtt_connect(void);

/** @brief Whether an MQTT session is currently up. */
bool care_mqtt_is_connected(void);

/**
 * @brief Publish a payload to care/<site>/<room>/<subtopic>.
 *
 * @return 0 on success, negative errno otherwise.
 */
int care_mqtt_publish(const char *subtopic, const char *payload, bool retain, int qos);

/**
 * @brief Service the MQTT socket for up to @p timeout_ms.
 *
 * @return 0 on success, negative errno on a connection error.
 */
int care_mqtt_process(int timeout_ms);

/** @brief Tear down the current session. */
void care_mqtt_disconnect(void);

#endif /* RADAR_CARE_NET_MQTT_H_ */
```

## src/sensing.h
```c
/*
 * Copyright (c) 2026 Nordic Semiconductor ASA
 *
 * SPDX-License-Identifier: LicenseRef-Nordic-5-Clause
 */

#ifndef RADAR_CARE_SENSING_H_
#define RADAR_CARE_SENSING_H_

#include "care.h"

/**
 * @brief Callback invoked by the sensing backend for each produced event.
 *
 * Called from the sensing thread context. The handler must be quick and must
 * copy any data it needs (the event is not valid after the call returns).
 */
typedef void (*sensing_event_cb_t)(const struct care_event *evt);

/**
 * @brief Start the sensing backend.
 *
 * Implemented by exactly one backend (synthetic or A121), selected at build
 * time via CONFIG_RADAR_CARE_SENSOR_*. The backend spawns its own thread and
 * delivers events through @p cb.
 *
 * @return 0 on success, negative errno otherwise.
 */
int sensing_start(sensing_event_cb_t cb);

/**
 * @brief Acknowledge / clear a latched fall.
 *
 * Called when the dashboard acknowledges a fall alert (server -> device command
 * on care/<site>/<room>/cmd). The backend clears any latched fall state and
 * emits a CARE_FALL_NONE so device and dashboard agree. Safe to call from any
 * thread; the backend picks it up on its next processing iteration.
 */
void sensing_ack_fall(void);

#endif /* RADAR_CARE_SENSING_H_ */
```

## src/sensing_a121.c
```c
/*
 * Copyright (c) 2026 Nordic Semiconductor ASA
 *
 * SPDX-License-Identifier: LicenseRef-Nordic-5-Clause
 *
 * Acconeer A121 sensing backend.
 *
 * Uses the Acconeer breathing reference application as the unified radar
 * pipeline. The reference app internally drives the presence detector (one
 * sensor configuration runs at a time), so a single measurement loop yields:
 *
 *   - presence/distance/motion scores every frame   -> CARE_EVT_PRESENCE
 *   - an estimated breathing rate when it converges  -> CARE_EVT_BREATHING
 *
 * On top of the presence result we run a lightweight, custom fall heuristic
 * (impact motion spike -> sustained stillness while still present) and emit
 * CARE_EVT_FALL (suspected/confirmed/none). See DESIGN.md §6.5.
 *
 * The measure/calibrate/recalibrate sequence mirrors the Acconeer
 * use_cases/reference_apps/ref_app_breathing_main.c reference.
 */

#include <math.h>

#include <zephyr/kernel.h>
#include <zephyr/logging/log.h>
#include <zephyr/sys/atomic.h>

#include "acc_hal_integration_a121.h"
#include "acc_integration.h"
#include "acc_rss_a121.h"
#include "acc_sensor.h"
#include "ref_app_breathing.h"

#include "sensing.h"

LOG_MODULE_REGISTER(sensing_a121, CONFIG_LOG_DEFAULT_LEVEL);

#define A121_STACK_SIZE   8192
#define SENSOR_ID         1U
#define SENSOR_TIMEOUT_MS 1000U
#define CAL_RETRIES       1U

/* Room/zone coverage (metres). Tune for the mounting (DESIGN.md §4.2/D3).
 * Breathing estimation is most reliable for a near, stationary subject; the
 * wider range still serves presence and fall detection.
 */
#define PRESENCE_RANGE_START_M 0.3f
#define PRESENCE_RANGE_END_M   3.0f

/* Anticipated breathing-rate window (BPM). Widened vs. the SITTING preset to
 * cover both calm rest and post-fall distress for seniors.
 */
#define BREATHING_RATE_MIN_BPM 6U
#define BREATHING_RATE_MAX_BPM 30U

/* --- Fall heuristic tunables (DESIGN.md §6.5) ----------------------------- *
 * Intra-frame presence score measures fast motion. A fall is a brief, large
 * motion spike (the impact) followed by the subject staying present but nearly
 * motionless on the floor for a settle window. A downward step in measured
 * distance is used as a corroborating signal (geometry dependent; tune per
 * mounting).
 */
#define FALL_IMPACT_INTRA    8.0f /* spike that may indicate an impact        */
#define FALL_STILL_INTRA     2.0f /* "lying still" upper bound (fast motion)  */
#define FALL_DISTANCE_STEP_M 0.3f /* corroborating sudden distance change     */
#define FALL_RECOVER_INTRA   4.0f /* motion that counts as "got up / active"  */

static sensing_event_cb_t evt_cb;
static atomic_t ack_fall_pending;

static float clampf(float v, float lo, float hi)
{
	if (v < lo) {
		return lo;
	}
	if (v > hi) {
		return hi;
	}
	return v;
}

static void emit_presence(const acc_detector_presence_result_t *r)
{
	if (evt_cb == NULL) {
		return;
	}

	struct care_event e = {
		.type = CARE_EVT_PRESENCE,
		.uptime_ms = k_uptime_get_32(),
		.presence = {
			.present = r->presence_detected,
			.score = MAX(r->intra_presence_score, r->inter_presence_score),
			.distance_m = r->presence_distance,
		},
	};

	evt_cb(&e);
}

static void emit_breathing(float bpm, float confidence)
{
	if (evt_cb == NULL) {
		return;
	}

	struct care_event e = {
		.type = CARE_EVT_BREATHING,
		.uptime_ms = k_uptime_get_32(),
		.breathing = { .valid = true, .rate_bpm = bpm, .confidence = confidence },
	};

	evt_cb(&e);
}

static void emit_fall(enum care_fall_state state, float confidence, float distance_m)
{
	if (evt_cb == NULL) {
		return;
	}

	struct care_event e = {
		.type = CARE_EVT_FALL,
		.uptime_ms = k_uptime_get_32(),
		.fall = { .state = state, .confidence = confidence, .distance_m = distance_m },
	};

	evt_cb(&e);
}

/* --- Fall detector state machine ----------------------------------------- */
enum fall_phase {
	FALL_PH_NORMAL,    /* monitoring                                        */
	FALL_PH_SUSPECTED, /* impact seen, waiting out the settle window        */
	FALL_PH_CONFIRMED, /* latched until the subject is active again / gone  */
};

struct fall_ctx {
	enum fall_phase phase;
	int64_t suspected_since;
	float impact_distance;
	float prev_distance;
	bool have_prev_distance;
};

static void fall_reset(struct fall_ctx *f)
{
	f->phase = FALL_PH_NORMAL;
	f->have_prev_distance = false;
}

/*
 * Run one step of the fall heuristic against a presence result.
 *
 * Transitions:
 *   NORMAL    -> SUSPECTED : present + large intra spike (impact), optionally
 *                            corroborated by a sudden distance step.
 *   SUSPECTED -> CONFIRMED : still present but nearly motionless for the whole
 *                            settle window (CONFIG_RADAR_CARE_FALL_SETTLE_MS).
 *   SUSPECTED -> NORMAL    : subject moved normally again, or left.
 *   CONFIRMED -> NORMAL    : subject became active again, or left the room.
 */
static void fall_step(struct fall_ctx *f, const acc_detector_presence_result_t *r)
{
	const bool present = r->presence_detected;
	const float intra = r->intra_presence_score;
	const float dist = r->presence_distance;
	const int64_t now = k_uptime_get();
	const int64_t settle_ms = CONFIG_RADAR_CARE_FALL_SETTLE_MS;

	float dist_step = 0.0f;

	if (f->have_prev_distance && present) {
		dist_step = fabsf(dist - f->prev_distance);
	}
	if (present) {
		f->prev_distance = dist;
		f->have_prev_distance = true;
	}

	/* Dashboard acknowledged the alert: drop the latch regardless of phase. */
	if (atomic_cas(&ack_fall_pending, 1, 0) && f->phase != FALL_PH_NORMAL) {
		LOG_INF("Fall acknowledged, clearing latch");
		emit_fall(CARE_FALL_NONE, 0.0f, dist);
		f->phase = FALL_PH_NORMAL;
		return;
	}

	switch (f->phase) {
	case FALL_PH_NORMAL:
		if (present && intra >= FALL_IMPACT_INTRA) {
			float conf = clampf(intra / (2.0f * FALL_IMPACT_INTRA), 0.4f, 0.6f);

			if (dist_step >= FALL_DISTANCE_STEP_M) {
				conf = clampf(conf + 0.1f, 0.4f, 0.6f);
			}
			f->phase = FALL_PH_SUSPECTED;
			f->suspected_since = now;
			f->impact_distance = dist;
			LOG_WRN("Fall suspected (intra=%.1f, d=%.2f m)", (double)intra,
				(double)dist);
			emit_fall(CARE_FALL_SUSPECTED, conf, dist);
		}
		break;

	case FALL_PH_SUSPECTED:
		if (!present) {
			/* Left during the window: not a fall (e.g. walked off). */
			LOG_INF("Fall cleared (subject left)");
			emit_fall(CARE_FALL_NONE, 0.0f, 0.0f);
			f->phase = FALL_PH_NORMAL;
		} else if (intra > FALL_STILL_INTRA) {
			/* Moving again before settling: treat as a normal motion. */
			LOG_INF("Fall cleared (subject active)");
			emit_fall(CARE_FALL_NONE, 0.0f, dist);
			f->phase = FALL_PH_NORMAL;
		} else if ((now - f->suspected_since) >= settle_ms) {
			/* Present + still for the whole window -> confirm. */
			float still_s = (float)(now - f->suspected_since) / 1000.0f;
			float conf = clampf(0.6f + 0.05f * still_s, 0.7f, 0.95f);

			LOG_WRN("Fall CONFIRMED (still %.1f s, d=%.2f m)", (double)still_s,
				(double)dist);
			emit_fall(CARE_FALL_CONFIRMED, conf, dist);
			f->phase = FALL_PH_CONFIRMED;
		}
		break;

	case FALL_PH_CONFIRMED:
		if (!present || intra >= FALL_RECOVER_INTRA) {
			LOG_INF("Fall recovered (%s)", present ? "subject active" : "left");
			emit_fall(CARE_FALL_NONE, 0.0f, dist);
			f->phase = FALL_PH_NORMAL;
		}
		break;
	}
}

/* --- Sensor plumbing (mirrors ref_app_breathing_main.c) ------------------ */
static bool sensor_calibration(acc_sensor_t *sensor, acc_cal_result_t *cal_result,
			       void *buffer, uint32_t buffer_size)
{
	bool status = false;
	bool complete = false;

	for (uint16_t i = 0; !status && (i <= CAL_RETRIES); i++) {
		acc_hal_integration_sensor_disable(SENSOR_ID);
		acc_hal_integration_sensor_enable(SENSOR_ID);

		do {
			status = acc_sensor_calibrate(sensor, &complete, cal_result, buffer,
						      buffer_size);
			if (status && !complete) {
				status = acc_hal_integration_wait_for_sensor_interrupt(
					SENSOR_ID, SENSOR_TIMEOUT_MS);
			}
		} while (status && !complete);
	}

	if (status) {
		acc_hal_integration_sensor_disable(SENSOR_ID);
		acc_hal_integration_sensor_enable(SENSOR_ID);
	} else {
		LOG_ERR("acc_sensor_calibrate failed");
	}

	return status;
}

static bool measure(acc_sensor_t *sensor, void *buffer, uint32_t buffer_size)
{
	if (!acc_sensor_measure(sensor)) {
		LOG_ERR("acc_sensor_measure failed");
		return false;
	}
	if (!acc_hal_integration_wait_for_sensor_interrupt(SENSOR_ID, SENSOR_TIMEOUT_MS)) {
		LOG_ERR("sensor interrupt timeout");
		return false;
	}
	if (!acc_sensor_read(sensor, buffer, buffer_size)) {
		LOG_ERR("acc_sensor_read failed");
		return false;
	}

	return true;
}

static void configure(ref_app_breathing_config_t *config)
{
	acc_detector_presence_config_t *pc = config->presence_config;

	acc_detector_presence_config_sensor_set(pc, SENSOR_ID);
	acc_detector_presence_config_start_set(pc, PRESENCE_RANGE_START_M);
	acc_detector_presence_config_end_set(pc, PRESENCE_RANGE_END_M);
	/* Sensitivity for fast motion; same baseline as the SITTING preset. */
	acc_detector_presence_config_intra_detection_threshold_set(pc, 6.0f);

	config->lowest_breathing_rate = BREATHING_RATE_MIN_BPM;
	config->highest_breathing_rate = BREATHING_RATE_MAX_BPM;
}

static void a121_thread(void *a, void *b, void *c)
{
	ARG_UNUSED(a);
	ARG_UNUSED(b);
	ARG_UNUSED(c);

	ref_app_breathing_config_t *config = NULL;
	ref_app_breathing_handle_t *handle = NULL;
	acc_sensor_t *sensor = NULL;
	acc_cal_result_t cal_result;
	void *buffer = NULL;
	uint32_t buffer_size = 0;
	struct fall_ctx fall;

	fall_reset(&fall);

	if (!acc_rss_hal_register(acc_hal_rss_integration_get_implementation())) {
		LOG_ERR("acc_rss_hal_register failed");
		return;
	}

	config = ref_app_breathing_config_create();
	if (config == NULL) {
		LOG_ERR("breathing config create failed");
		return;
	}

	configure(config);

	handle = ref_app_breathing_create(config);
	if (handle == NULL || !ref_app_breathing_get_buffer_size(handle, &buffer_size)) {
		LOG_ERR("breathing create/buffer_size failed");
		goto cleanup;
	}

	buffer = acc_integration_mem_alloc(buffer_size);
	if (buffer == NULL) {
		LOG_ERR("buffer alloc (%u) failed", buffer_size);
		goto cleanup;
	}

	acc_hal_integration_sensor_supply_on(SENSOR_ID);
	acc_hal_integration_sensor_enable(SENSOR_ID);

	sensor = acc_sensor_create(SENSOR_ID);
	if (sensor == NULL) {
		LOG_ERR("acc_sensor_create failed");
		goto cleanup;
	}

	if (!sensor_calibration(sensor, &cal_result, buffer, buffer_size) ||
	    !ref_app_breathing_prepare(handle, config, sensor, &cal_result, buffer,
				       buffer_size)) {
		LOG_ERR("calibration/prepare failed");
		goto cleanup;
	}

	LOG_INF("A121 breathing+presence running (%.1f-%.1f m), fall detection %s",
		(double)PRESENCE_RANGE_START_M, (double)PRESENCE_RANGE_END_M,
		IS_ENABLED(CONFIG_RADAR_CARE_FALL_ENABLE) ? "on" : "off");

	while (1) {
		ref_app_breathing_result_t result = {0};

		if (!measure(sensor, buffer, buffer_size) ||
		    !ref_app_breathing_process(handle, buffer, &result)) {
			LOG_ERR("measure/process failed");
			break;
		}

		const acc_detector_presence_result_t *pr = &result.presence_result;

		if (pr->processing_result.calibration_needed) {
			LOG_INF("Recalibration needed");
			if (!sensor_calibration(sensor, &cal_result, buffer, buffer_size) ||
			    !ref_app_breathing_prepare(handle, config, sensor, &cal_result,
						       buffer, buffer_size)) {
				LOG_ERR("recalibration failed");
				break;
			}
			continue;
		}

		emit_presence(pr);

		if (result.result_ready) {
			/* The ref app only reports a rate once it has converged
			 * in the ESTIMATE_BREATHING_RATE state; treat that as a
			 * high-confidence reading.
			 */
			emit_breathing(result.breathing_rate, 0.9f);
		}

		if (IS_ENABLED(CONFIG_RADAR_CARE_FALL_ENABLE)) {
			fall_step(&fall, pr);
		}
	}

cleanup:
	if (sensor != NULL) {
		acc_sensor_destroy(sensor);
	}
	acc_hal_integration_sensor_disable(SENSOR_ID);
	acc_hal_integration_sensor_supply_off(SENSOR_ID);
	if (buffer != NULL) {
		acc_integration_mem_free(buffer);
	}
	if (handle != NULL) {
		ref_app_breathing_destroy(handle);
	}
	if (config != NULL) {
		ref_app_breathing_config_destroy(config);
	}

	LOG_ERR("A121 sensing thread exited");
}

K_THREAD_STACK_DEFINE(a121_stack, A121_STACK_SIZE);
static struct k_thread a121_tcb;

int sensing_start(sensing_event_cb_t cb)
{
	evt_cb = cb;

	k_thread_create(&a121_tcb, a121_stack, A121_STACK_SIZE, a121_thread,
			NULL, NULL, NULL, K_PRIO_PREEMPT(6), 0, K_NO_WAIT);
	k_thread_name_set(&a121_tcb, "a121_sensing");

	return 0;
}

void sensing_ack_fall(void)
{
	atomic_set(&ack_fall_pending, 1);
}
```
